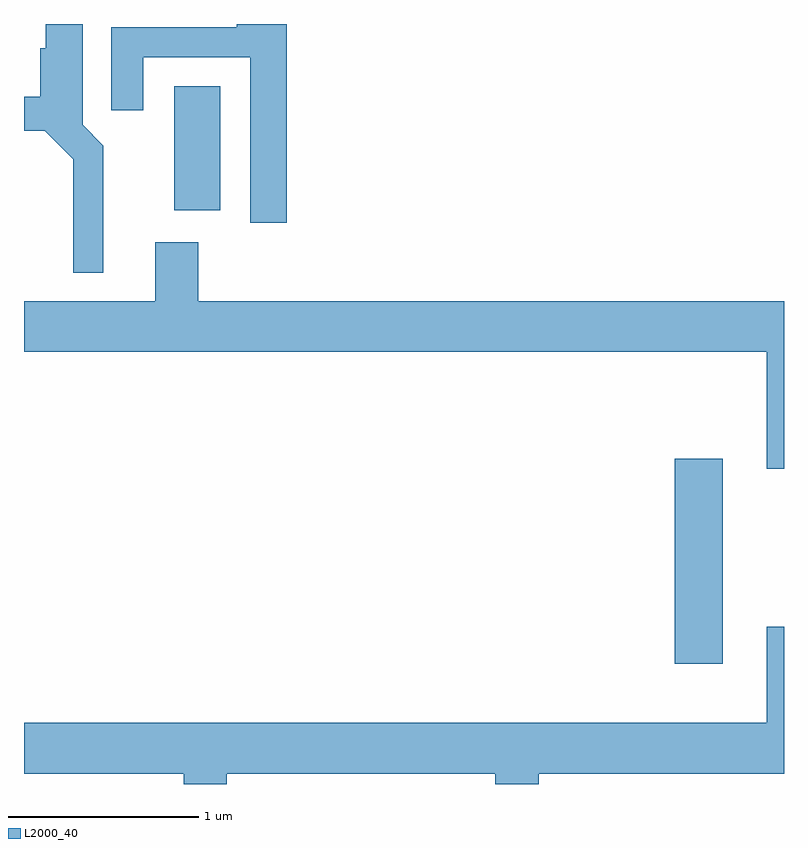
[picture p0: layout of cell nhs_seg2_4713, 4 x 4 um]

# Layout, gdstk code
import gdstk
lib = gdstk.Library(unit=1e-6, precision=1e-09)
def R(c, l, rs):  # rectangles x0, y0, x1, y1
    for r in rs: c.add(gdstk.rectangle(r[:2], r[2:], *l))
def P(c, l, *ps):  # polygons
    for p in ps: c.add(gdstk.Polygon(p, *l))
L2000_40 = (2000, 40)

nhs_seg2_4713 = lib.new_cell('nhs_seg2_4713')
R(nhs_seg2_4713, L2000_40, [(327.036,1064.436,327.289,1065.514), (324.401,1066.821,324.644,1067.474)])
P(nhs_seg2_4713, L2000_40, [(324.029,1067.162),(323.919,1067.272),(323.919,1067.802),(323.726,1067.802),(323.726,1067.674),(323.696,1067.674),(323.696,1067.419),(323.611,1067.419),(323.611,1067.241),(323.719,1067.241),(323.871,1067.089),(323.871,1066.493),(324.029,1066.493)],
  [(324.994,1067.802),(324.731,1067.802),(324.731,1067.784),(324.071,1067.784),(324.071,1067.348),(324.239,1067.348),(324.239,1067.626),(324.801,1067.626),(324.801,1066.756),(324.994,1066.756)],
  [(327.611,1066.344),(324.529,1066.344),(324.529,1066.654),(324.301,1066.654),(324.301,1066.344),(323.611,1066.344),(323.611,1066.076),(327.521,1066.076),(327.521,1065.461),(327.611,1065.461)],
  [(324.679,1063.856),(326.091,1063.856),(326.091,1063.802),(326.319,1063.802),(326.319,1063.856),(327.611,1063.856),(327.611,1064.629),(327.521,1064.629),(327.521,1064.124),(323.611,1064.124),(323.611,1063.856),(324.451,1063.856),(324.451,1063.802),(324.679,1063.802)])

lib.write_gds('nhs_seg2_4713.gds')
